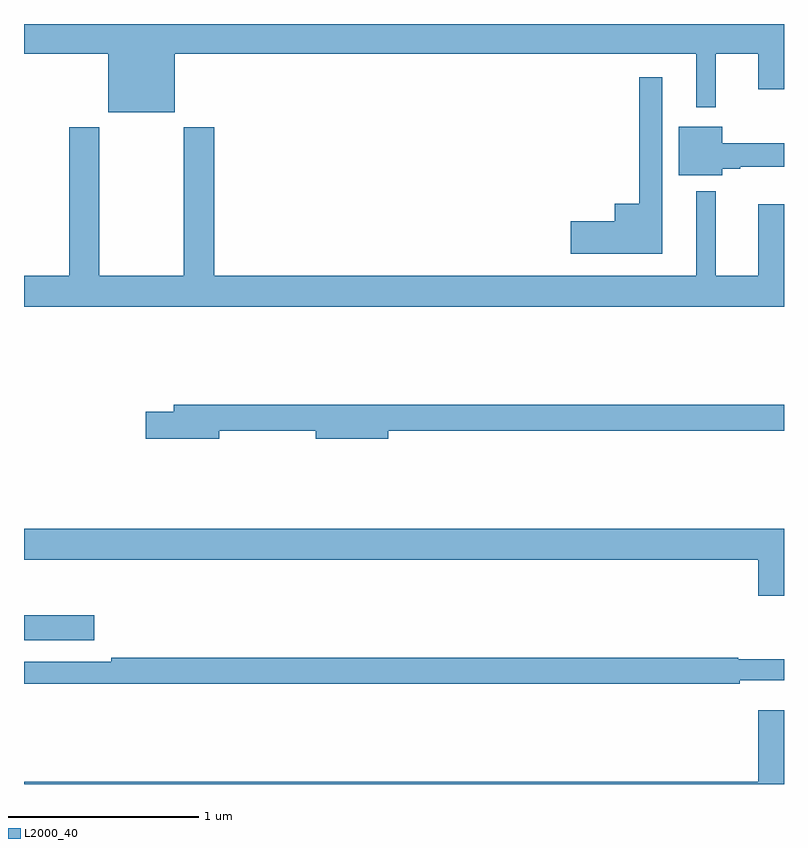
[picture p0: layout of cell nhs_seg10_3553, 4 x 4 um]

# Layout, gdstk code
import gdstk
lib = gdstk.Library(unit=1e-6, precision=1e-09)
def R(c, l, rs):  # rectangles x0, y0, x1, y1
    for r in rs: c.add(gdstk.rectangle(r[:2], r[2:], *l))
def P(c, l, *ps):  # polygons
    for p in ps: c.add(gdstk.Polygon(p, *l))
L2000_40 = (2000, 40)

nhs_seg10_3553 = lib.new_cell('nhs_seg10_3553')
R(nhs_seg10_3553, L2000_40, [(305,1269.257,305.371,1269.387)])
P(nhs_seg10_3553, L2000_40, [(305.794,1272.344),(308.537,1272.344),(308.537,1272.063),(308.641,1272.063),(308.641,1272.344),(308.864,1272.344),(308.864,1272.156),(309,1272.156),(309,1272.5),(305,1272.5),(305,1272.344),(305.444,1272.344),(305.444,1272.035),(305.794,1272.035)],
  [(308.359,1272.22),(308.238,1272.22),(308.238,1271.554),(308.108,1271.554),(308.108,1271.462),(307.878,1271.462),(307.878,1271.291),(308.359,1271.291)],
  [(308.674,1271.738),(308.77,1271.738),(308.77,1271.75),(309,1271.75),(309,1271.872),(308.674,1271.872),(308.674,1271.959),(308.447,1271.959),(308.447,1271.705),(308.674,1271.705)],
  [(309,1271.551),(308.864,1271.551),(308.864,1271.176),(308.641,1271.176),(308.641,1271.62),(308.537,1271.62),(308.537,1271.176),(306.002,1271.176),(306.002,1271.956),(305.842,1271.956),(305.842,1271.176),(305.397,1271.176),(305.397,1271.956),(305.237,1271.956),(305.237,1271.176),(305,1271.176),(305,1271.012),(309,1271.012)],
  [(306.028,1270.36),(306.536,1270.36),(306.536,1270.318),(306.916,1270.318),(306.916,1270.36),(309,1270.36),(309,1270.496),(305.789,1270.496),(305.789,1270.46),(305.64,1270.46),(305.64,1270.318),(306.028,1270.318)],
  [(309,1269.844),(305,1269.844),(305,1269.68),(308.864,1269.68),(308.864,1269.492),(309,1269.492)],
  [(308.768,1269.047),(309,1269.047),(309,1269.157),(308.758,1269.157),(308.758,1269.164),(305.458,1269.164),(305.458,1269.144),(305,1269.144),(305,1269.028),(308.768,1269.028)],
  [(309,1268.887),(308.864,1268.887),(308.864,1268.512),(305,1268.512),(305,1268.5),(309,1268.5)])

lib.write_gds('nhs_seg10_3553.gds')
